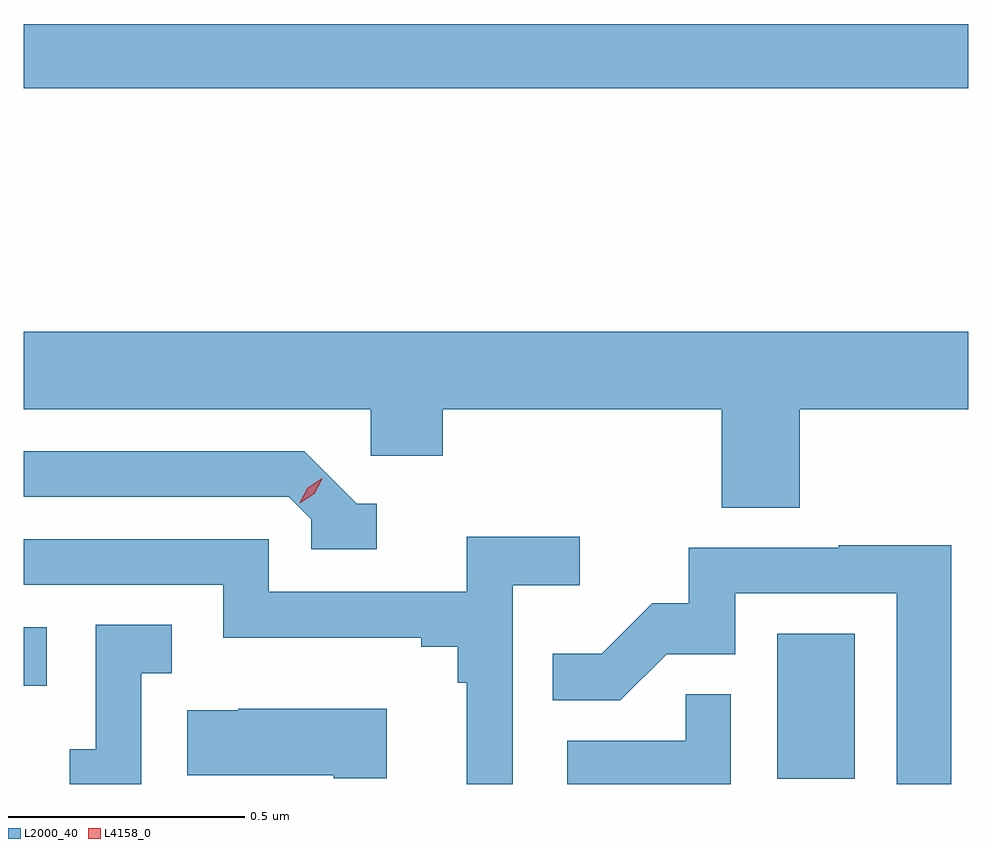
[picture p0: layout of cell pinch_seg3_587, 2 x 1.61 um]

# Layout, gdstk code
import gdstk
lib = gdstk.Library(unit=1e-6, precision=1e-09)
def R(c, l, rs):  # rectangles x0, y0, x1, y1
    for r in rs: c.add(gdstk.rectangle(r[:2], r[2:], *l))
def P(c, l, *ps):  # polygons
    for p in ps: c.add(gdstk.Polygon(p, *l))
L2000_40 = (2000, 40)
L4158_0 = (4158, 0)

pinch_seg3_587 = lib.new_cell('pinch_seg3_587')
R(pinch_seg3_587, L2000_40, [(1071.122,700.134,1071.286,700.441), (1069.527,700.331,1069.576,700.455), (1069.527,701.596,1071.527,701.732)])
P(pinch_seg3_587, L2000_40, [(1071.17,700.916),(1071.527,700.916),(1071.527,701.08),(1069.527,701.08),(1069.527,700.916),(1070.262,700.916),(1070.262,700.818),(1070.414,700.818),(1070.414,700.916),(1071.005,700.916),(1071.005,700.708),(1071.17,700.708)],
  [(1070.275,700.716),(1070.232,700.716),(1070.121,700.827),(1069.527,700.827),(1069.527,700.731),(1070.088,700.731),(1070.136,700.683),(1070.136,700.62),(1070.275,700.62)],
  [(1070.562,700.544),(1070.704,700.544),(1070.704,700.646),(1070.465,700.646),(1070.465,700.53),(1070.046,700.53),(1070.046,700.641),(1069.527,700.641),(1069.527,700.545),(1069.95,700.545),(1069.95,700.433),(1070.369,700.433),(1070.369,700.414),(1070.446,700.414),(1070.446,700.337),(1070.465,700.337),(1070.465,700.123),(1070.562,700.123)],
  [(1071.491,700.628),(1071.253,700.628),(1071.253,700.623),(1070.935,700.623),(1070.935,700.506),(1070.858,700.506),(1070.751,700.399),(1070.647,700.399),(1070.647,700.3),(1070.79,700.3),(1070.888,700.398),(1071.033,700.398),(1071.033,700.527),(1071.375,700.527),(1071.375,700.123),(1071.491,700.123)],
  [(1069.776,700.357),(1069.84,700.357),(1069.84,700.46),(1069.68,700.46),(1069.68,700.197),(1069.625,700.197),(1069.625,700.123),(1069.776,700.123)],
  [(1071.024,700.313),(1070.929,700.313),(1070.929,700.215),(1070.678,700.215),(1070.678,700.123),(1071.024,700.123)],
  [(1070.296,700.282),(1069.981,700.282),(1069.981,700.279),(1069.873,700.279),(1069.873,700.142),(1070.183,700.142),(1070.183,700.135),(1070.296,700.135)])
P(pinch_seg3_587, L4158_0, [(1070.111,700.717),(1070.111,700.718),(1070.128,700.75),(1070.159,700.77),(1070.159,700.77),(1070.159,700.769),(1070.142,700.737),(1070.112,700.717)])

lib.write_gds('pinch_seg3_587.gds')
